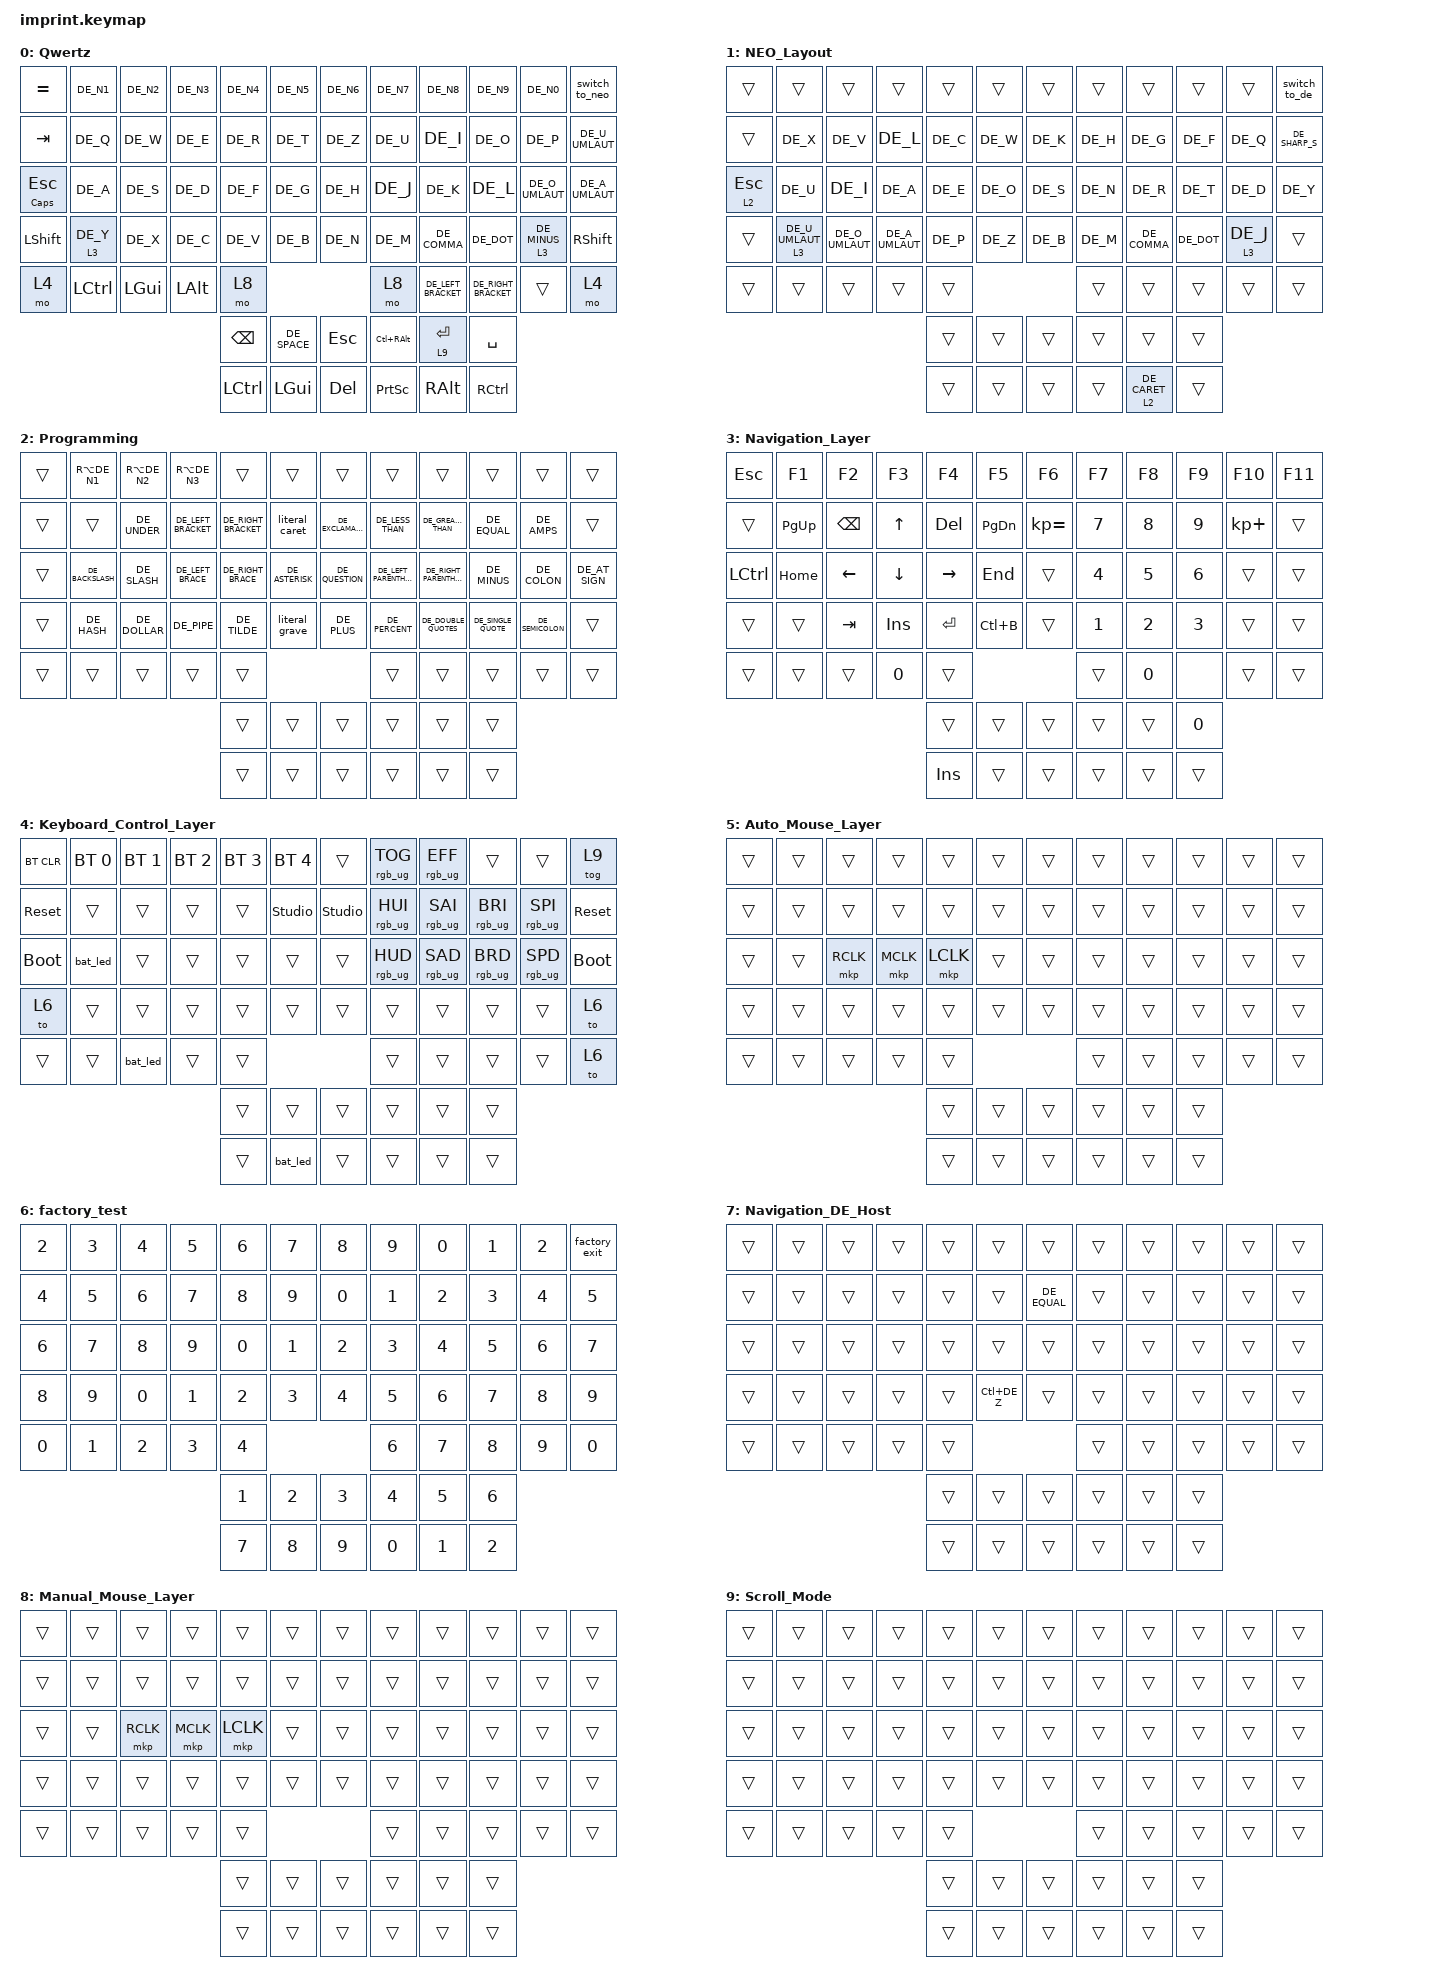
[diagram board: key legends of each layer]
#include <input/processors.dtsi>
#include <dt-bindings/zmk/input_transform.h>
#include <behaviors.dtsi>
#include <dt-bindings/zmk/bt.h>
#include <dt-bindings/zmk/keys.h>
#include <dt-bindings/zmk/pointing.h>
#include <dt-bindings/zmk/rgb.h>
#include "keys_de.h"

/ {
    chosen { zmk,matrix-transform = &imprint_number_row_full_bottom_row; };

    behaviors {
        bat_led: bat_led {
            compatible = "zmk,behavior-battery-led";
            #binding-cells = <0>;
            display-name = "Battery LEDs";
        };
    };

    macros {
        // German ^ and ` are dead keys. Space commits the literal symbol.
        literal_caret: literal_caret {
            compatible = "zmk,behavior-macro";
            #binding-cells = <0>;
            bindings = <&kp DE_CARET &kp SPACE>;
        };

        literal_grave: literal_grave {
            compatible = "zmk,behavior-macro";
            #binding-cells = <0>;
            bindings = <&kp DE_GRAVE &kp SPACE>;
        };

        switch_to_neo: switch_to_neo {
            compatible = "zmk,behavior-macro";
            #binding-cells = <0>;
            // Toggling only layer 1 keeps the independent scroll mode active.
            bindings = <&tog 1 &rgb_ug RGB_COLOR_HSB(229,94,50)>;
            label = "SWITCH_TO_NEO";
        };

        switch_to_de: switch_to_de {
            compatible = "zmk,behavior-macro";
            #binding-cells = <0>;
            bindings = <&tog 1 &rgb_ug RGB_COLOR_HSB(102,51,47)>;
            label = "SWITCH_TO_DE";
        };

        factory_exit: factory_exit {
            compatible = "zmk,behavior-macro";
            #binding-cells = <0>;
            bindings = <&to 0 &rgb_ug RGB_COLOR_HSB(102,51,47)>;
            label = "FACTORY_EXIT";
        };
    };

    conditional_layers {
        compatible = "zmk,conditional-layers";
        // Only these two navigation bindings depend on the host layout.
        navigation_de {
            if-layers = <1 3>;
            then-layer = <7>;
        };
    };

    keymap {
        compatible = "zmk,keymap";

        // 0: physical QWERTZ codes for the Linux Neo host (also plain QWERTZ).
        Qwertz {
            bindings = <
&kp EQUAL            &kp DE_N1         &kp DE_N2  &kp DE_N3  &kp DE_N4      &kp DE_N5                   &kp DE_N6          &kp DE_N7    &kp DE_N8            &kp DE_N9             &kp DE_N0        &switch_to_neo
&kp TAB              &kp DE_Q          &kp DE_W   &kp DE_E   &kp DE_R       &kp DE_T                    &kp DE_Z           &kp DE_U     &kp DE_I             &kp DE_O              &kp DE_P         &kp DE_U_UMLAUT
&mt CAPSLOCK ESCAPE  &kp DE_A          &kp DE_S   &kp DE_D   &kp DE_F       &kp DE_G                    &kp DE_H           &kp DE_J     &kp DE_K             &kp DE_L              &kp DE_O_UMLAUT  &kp DE_A_UMLAUT
&kp LEFT_SHIFT       &lt 3 DE_Y        &kp DE_X   &kp DE_C   &kp DE_V       &kp DE_B                    &kp DE_N           &kp DE_M     &kp DE_COMMA         &kp DE_DOT            &lt 3 DE_MINUS   &kp RSHFT
&mo 4                &kp LEFT_CONTROL  &kp LGUI   &kp LALT   &mo 8                                                         &mo 8        &kp DE_LEFT_BRACKET  &kp DE_RIGHT_BRACKET  &trans           &mo 4
                                                             &kp BACKSPACE  &kp DE_SPACE  &kp ESC       &kp LC(RIGHT_ALT)  &lt 9 ENTER  &kp SPACE
                                                             &kp LCTRL      &kp LEFT_GUI  &kp DELETE    &kp PRINTSCREEN    &kp RALT     &kp RCTRL
            >;
        };

        // 1: Neo emulation for a host with German QWERTZ selected.
        NEO_Layout {
            bindings = <
&trans     &trans             &trans           &trans           &trans    &trans              &trans    &trans          &trans        &trans      &trans      &switch_to_de
&trans     &kp DE_X           &kp DE_V         &kp DE_L         &kp DE_C  &kp DE_W            &kp DE_K  &kp DE_H        &kp DE_G      &kp DE_F    &kp DE_Q    &kp DE_SHARP_S
&lt 2 ESC  &kp DE_U           &kp DE_I         &kp DE_A         &kp DE_E  &kp DE_O            &kp DE_S  &kp DE_N        &kp DE_R      &kp DE_T    &kp DE_D    &kp DE_Y
&trans     &lt 3 DE_U_UMLAUT  &kp DE_O_UMLAUT  &kp DE_A_UMLAUT  &kp DE_P  &kp DE_Z            &kp DE_B  &kp DE_M        &kp DE_COMMA  &kp DE_DOT  &lt 3 DE_J  &trans
&trans     &trans             &trans           &trans           &trans                                  &trans          &trans        &trans      &trans      &trans
                                                                &trans    &trans    &trans    &trans    &trans          &trans
                                                                &trans    &trans    &trans    &trans    &lt 2 DE_CARET  &trans
            >;
        };

        Programming {
            bindings = <
&trans  &kp RA(DE_N1)     &kp RA(DE_N2)  &kp RA(DE_N3)        &trans                &trans                     &trans              &trans                   &trans                    &trans               &trans            &trans
&trans  &trans            &kp DE_UNDER   &kp DE_LEFT_BRACKET  &kp DE_RIGHT_BRACKET  &literal_caret             &kp DE_EXCLAMATION  &kp DE_LESS_THAN         &kp DE_GREATER_THAN       &kp DE_EQUAL         &kp DE_AMPS       &trans
&trans  &kp DE_BACKSLASH  &kp DE_SLASH   &kp DE_LEFT_BRACE    &kp DE_RIGHT_BRACE    &kp DE_ASTERISK            &kp DE_QUESTION     &kp DE_LEFT_PARENTHESIS  &kp DE_RIGHT_PARENTHESIS  &kp DE_MINUS         &kp DE_COLON      &kp DE_AT_SIGN
&trans  &kp DE_HASH       &kp DE_DOLLAR  &kp DE_PIPE          &kp DE_TILDE          &literal_grave             &kp DE_PLUS         &kp DE_PERCENT           &kp DE_DOUBLE_QUOTES      &kp DE_SINGLE_QUOTE  &kp DE_SEMICOLON  &trans
&trans  &trans            &trans         &trans               &trans                                                               &trans                   &trans                    &trans               &trans            &trans
                                                              &trans                &trans           &trans    &trans              &trans                   &trans
                                                              &trans                &trans           &trans    &trans              &trans                   &trans
            >;
        };

        // 3: real navigation keys; top-row digits work with NumLock on or off.
        // The two host-dependent keys are overridden by layer 7 for QWERTZ hosts.
        Navigation_Layer {
            bindings = <
&kp ESC           &kp F1       &kp F2         &kp F3      &kp F4      &kp F5                   &kp F6        &kp F7           &kp F8           &kp F9           &kp F10      &kp F11
&trans            &kp PAGE_UP  &kp BACKSPACE  &kp UP      &kp DEL     &kp PAGE_DOWN            &kp KP_EQUAL  &kp N7           &kp N8           &kp N9           &kp KP_PLUS  &trans
&kp LEFT_CONTROL  &kp HOME     &kp LEFT       &kp DOWN    &kp RIGHT   &kp END                  &trans        &kp N4           &kp N5           &kp N6           &trans       &trans
&trans            &trans       &kp TAB        &kp INSERT  &kp ENTER   &kp LC(B)                &trans        &kp N1           &kp N2           &kp N3           &trans       &trans
&trans            &trans       &trans         &kp N0      &trans                                             &trans           &kp N0           &none            &trans       &trans
                                                          &trans      &trans         &trans    &trans        &trans           &kp N0
                                                          &kp INSERT  &trans         &trans    &trans        &trans           &trans
            >;
        };

        Keyboard_Control_Layer {
            bindings = <
&bt BT_CLR   &bt BT_SEL 0  &bt BT_SEL 1  &bt BT_SEL 2  &bt BT_SEL 3  &bt BT_SEL 4              &trans          &rgb_ug RGB_TOG  &rgb_ug RGB_EFF  &trans           &trans           &tog 9
&sys_reset   &trans        &trans        &trans        &trans        &studio_unlock            &studio_unlock  &rgb_ug RGB_HUI  &rgb_ug RGB_SAI  &rgb_ug RGB_BRI  &rgb_ug RGB_SPI  &sys_reset
&bootloader  &bat_led      &trans        &trans        &trans        &trans                    &trans          &rgb_ug RGB_HUD  &rgb_ug RGB_SAD  &rgb_ug RGB_BRD  &rgb_ug RGB_SPD  &bootloader
&to 6        &trans        &trans        &trans        &trans        &trans                    &trans          &trans           &trans           &trans           &trans           &to 6
&trans       &trans        &bat_led      &trans        &trans                                                  &trans           &trans           &trans           &trans           &to 6
                                                       &trans        &trans          &trans    &trans          &trans           &trans
                                                       &trans        &bat_led        &trans    &trans          &trans           &trans
            >;
        };

        Auto_Mouse_Layer {
            bindings = <
&trans  &trans  &trans     &trans     &trans     &trans            &trans  &trans  &trans  &trans  &trans  &trans
&trans  &trans  &trans     &trans     &trans     &trans            &trans  &trans  &trans  &trans  &trans  &trans
&trans  &trans  &mkp RCLK  &mkp MCLK  &mkp LCLK  &trans            &trans  &trans  &trans  &trans  &trans  &trans
&trans  &trans  &trans     &trans     &trans     &trans            &trans  &trans  &trans  &trans  &trans  &trans
&trans  &trans  &trans     &trans     &trans                               &trans  &trans  &trans  &trans  &trans
                                      &trans     &trans  &trans    &trans  &trans  &trans
                                      &trans     &trans  &trans    &trans  &trans  &trans
            >;
        };

        factory_test {
            bindings = <
&kp N2  &kp N3  &kp N4  &kp N5  &kp N6  &kp N7            &kp N8  &kp N9  &kp N0  &kp N1  &kp N2  &factory_exit
&kp N4  &kp N5  &kp N6  &kp N7  &kp N8  &kp N9            &kp N0  &kp N1  &kp N2  &kp N3  &kp N4  &kp N5
&kp N6  &kp N7  &kp N8  &kp N9  &kp N0  &kp N1            &kp N2  &kp N3  &kp N4  &kp N5  &kp N6  &kp N7
&kp N8  &kp N9  &kp N0  &kp N1  &kp N2  &kp N3            &kp N4  &kp N5  &kp N6  &kp N7  &kp N8  &kp N9
&kp N0  &kp N1  &kp N2  &kp N3  &kp N4                            &kp N6  &kp N7  &kp N8  &kp N9  &kp N0
                                &kp N1  &kp N2  &kp N3    &kp N4  &kp N5  &kp N6
                                &kp N7  &kp N8  &kp N9    &kp N0  &kp N1  &kp N2
            >;
        };

        // 7: active only with NEO_Layout + Navigation_Layer. KP_EQUAL is not
        // supported on Windows, and Ctrl+Z needs the German Z keycode there.
        Navigation_DE_Host {
            bindings = <
&trans  &trans  &trans  &trans  &trans  &trans          &trans        &trans  &trans  &trans  &trans  &trans
&trans  &trans  &trans  &trans  &trans  &trans          &kp DE_EQUAL  &trans  &trans  &trans  &trans  &trans
&trans  &trans  &trans  &trans  &trans  &trans          &trans        &trans  &trans  &trans  &trans  &trans
&trans  &trans  &trans  &trans  &trans  &kp LC(DE_Z)    &trans        &trans  &trans  &trans  &trans  &trans
&trans  &trans  &trans  &trans  &trans                               &trans  &trans  &trans  &trans  &trans
                              &trans  &trans  &trans    &trans  &trans  &trans
                              &trans  &trans  &trans    &trans  &trans  &trans
            >;
        };

        // 8: a separate held layer keeps clicks available even when the
        // automatic mouse layer's inactivity timer expires during a drag.
        Manual_Mouse_Layer {
            bindings = <
&trans  &trans  &trans     &trans     &trans     &trans            &trans  &trans  &trans  &trans  &trans  &trans
&trans  &trans  &trans     &trans     &trans     &trans            &trans  &trans  &trans  &trans  &trans  &trans
&trans  &trans  &mkp RCLK  &mkp MCLK  &mkp LCLK  &trans            &trans  &trans  &trans  &trans  &trans  &trans
&trans  &trans  &trans     &trans     &trans     &trans            &trans  &trans  &trans  &trans  &trans  &trans
&trans  &trans  &trans     &trans     &trans                               &trans  &trans  &trans  &trans  &trans
                                      &trans     &trans  &trans    &trans  &trans  &trans
                                      &trans     &trans  &trans    &trans  &trans  &trans
            >;
        };

        // 9: persistent trackball scroll mode; transparent for all keys.
        Scroll_Mode {
            bindings = <
&trans  &trans  &trans  &trans  &trans  &trans          &trans  &trans  &trans  &trans  &trans  &trans
&trans  &trans  &trans  &trans  &trans  &trans          &trans  &trans  &trans  &trans  &trans  &trans
&trans  &trans  &trans  &trans  &trans  &trans          &trans  &trans  &trans  &trans  &trans  &trans
&trans  &trans  &trans  &trans  &trans  &trans          &trans  &trans  &trans  &trans  &trans  &trans
&trans  &trans  &trans  &trans  &trans                            &trans  &trans  &trans  &trans  &trans
                                      &trans  &trans  &trans      &trans  &trans  &trans
                                      &trans  &trans  &trans      &trans  &trans  &trans
            >;
        };
    };
};

// The right trackball moves the cursor by default and scrolls while layer 9 is on.
&trackball_peripheral_listener {
    input-processors = <&zip_temp_layer 5 1000>;

    scroll_mode {
        layers = <9>;
        input-processors = <&zip_xy_scaler 1 3>,
                           <&zip_xy_to_scroll_mapper>,
                           <&zip_scroll_transform INPUT_TRANSFORM_Y_INVERT>;
        // Keep the automatic mouse buttons available while scrolling.
        process-next;
    };
};

&zip_temp_layer {
    // Avoid activating mouse clicks while typing. Other keys leave mouse mode.
    require-prior-idle-ms = <200>;
    excluded-positions = <26 27 28 52 53>;
};
